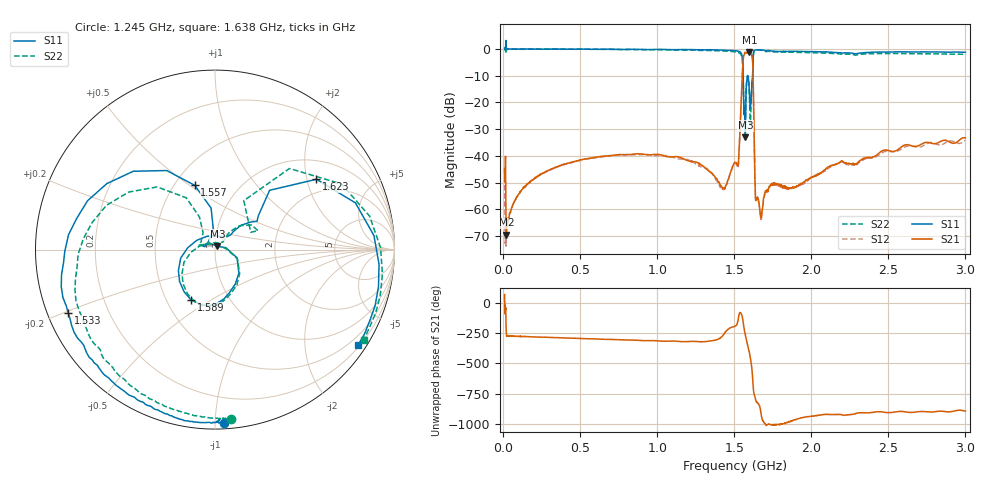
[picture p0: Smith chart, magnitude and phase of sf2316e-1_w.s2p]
# Hz S RI R 50
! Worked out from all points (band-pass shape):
!   1601 points, 10 MHz to 3 GHz, reference 50 ohm
!   highest |S21| = -1.16 dB at 1.598 GHz (marker M1); lowest = -69.5 dB at 21.21 MHz (marker M2)
!   |S21| within 3 dB of the highest: 1.558 GHz to 1.619 GHz (60.54 MHz wide, 3.81 % of centre)
!   lowest |S11| = -33.0 dB at 1.572 GHz (marker M3), VSWR 1.05, Z = 51.3 + j1.85 ohm
!   |S11| at or under -10 dB: 1.558 GHz to 1.587 GHz (28.81 MHz wide, 1.83 % of centre); 1.588 GHz to 1.619 GHz (31.54 MHz wide, 1.97 % of centre)
!   |S22| runs from -29.5 to 0.0 dB; largest |S21 - S12| = 0.02
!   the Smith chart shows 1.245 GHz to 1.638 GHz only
!   S11 on the Smith chart (normalised r, x): 1.245 GHz: 0.03, -1.05; 1.533 GHz: 0.06, -0.21; 1.557 GHz: 0.63, +0.52; 1.589 GHz: 0.66, -0.41; 1.623 GHz: 1.54, +2.29; 1.638 GHz: 0.25, -3.27
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1e7  1.03 -0.0278  0.00189 0.00546  0.00445 0.00364  0.9976 -0.0188
2.12125e7  0.9948 0.446  -0.000135 0.000309  -2.59e-05 0.000326  0.9257 -0.0524
3.429375e7  0.9965 -0.0407  6.59e-05 0.000623  8.84e-05 0.000644  1 -0.0394
1.81925e8  0.9761 -0.212  0.000528 0.00336  0.000547 0.00338  0.9767 -0.2055
5.089562e8  0.8228 -0.5545  0.00334 0.00781  0.00331 0.00769  0.829 -0.542
1.007912e9  0.3621 -0.9155  0.00735 0.00773  0.00687 0.00735  0.3844 -0.8859
1.245244e9  0.0518 -0.9669  0.00568 0.00525  0.00563 0.00463  0.09 -0.9425
1.428381e9  -0.3053 -0.9013  -0.000263 0.00246  -0.00038 0.00235  -0.2487 -0.8854
1.505e9  -0.6272 -0.6859  -0.00737 0.00158  -0.00703 0.00158  -0.5385 -0.6976
1.533031e9  -0.8179 -0.352  0.000571 -0.0154  0.00143 -0.0147  -0.7271 -0.4114
1.557325e9  -0.1132 0.3581  -0.5248 -0.2605  -0.5422 -0.2632  -0.1603 0.2887
1.572275e9  0.0132 0.018  -0.0502 0.856  -0.0455 0.8563  0.0147 0.0301
1.589094e9  -0.1329 -0.2808  0.8393 0.0697  0.8417 0.0758  -0.1155 -0.2888
1.598438e9  -0.1516 0.0107  0.5724 -0.6617  0.5716 -0.6668  -0.1358 -0.0165
1.611519e9  0.1062 0.1044  -0.7111 -0.3699  -0.7091 -0.3703  0.082 0.0997
1.622731e9  0.5653 0.3918  0.2424 0.1438  0.2452 0.1461  0.4147 0.4518
1.637681e9  0.7963 -0.5337  0.00047 -0.00161  0.000393 -0.00164  0.8296 -0.5015
1.673188e9  0.3112 -0.9057  -0.000719 8.7e-05  -0.000643 5.81e-05  0.3371 -0.8843
1.742331e9  -0.0333 -0.9153  0.000924 0.00268  0.000965 0.00266  0.00813 -0.8889
2.003956e9  -0.4082 -0.792  -0.00312 0.00241  -0.00325 0.00231  -0.3467 -0.7781
2.502912e9  -0.7226 -0.4964  -0.0124 0.00163  -0.0122 0.00132  -0.6378 -0.5189
3e9  -0.8648 -0.0569  -0.0217 -0.00203  -0.0189 -0.00483  -0.7789 -0.1436
